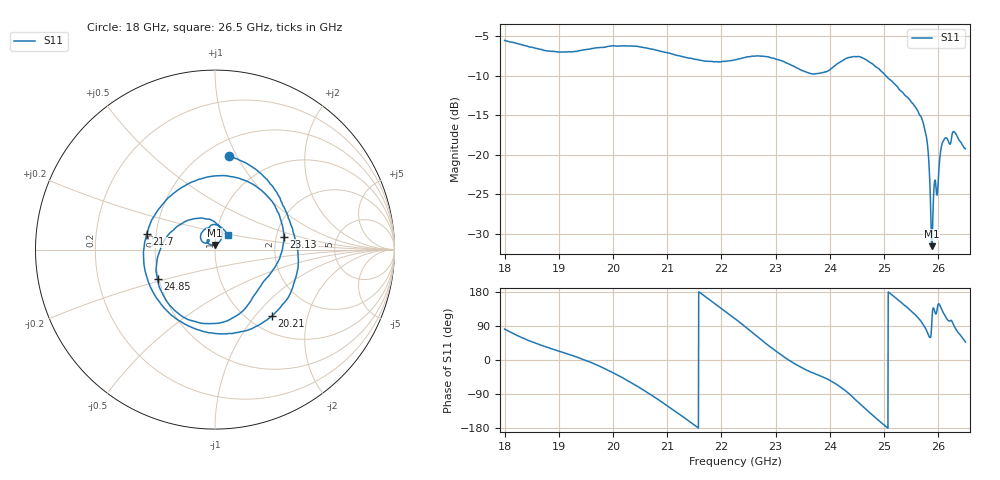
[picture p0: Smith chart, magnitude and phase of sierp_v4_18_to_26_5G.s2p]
!Keysight Technologies,N5222B,MY60213399,A.14.00.23
!Date: Tuesday, February 27, 2024 20:53:27
!Correction: S11(C  1-Port  )
!S21(Off)
!S12(Off)
!S22(Off)
!S2P File: Measurement: :
# Hz S  dB  R 50
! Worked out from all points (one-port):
!   1601 points, 18 GHz to 26.5 GHz, reference 50 ohm
!   lowest |S11| = -31.6 dB at 25.88 GHz (marker M1), VSWR 1.05, Z = 49.8 + j2.63 ohm
!   |S11| at or under -10 dB: 25.03 GHz to end of sweep
!   S11 on the Smith chart (normalised r, x): 18 GHz: 0.64, +0.93; 20.21 GHz: 1.26, -1.22; 21.7 GHz: 0.44, +0.09; 23.13 GHz: 2.20, +0.38; 24.85 GHz: 0.49, -0.18; 26.5 GHz: 1.14, +0.19
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1.8e10  -5.57 81.5  -200.00 45.0  -200.00 45.0  -200.00 45.0
1.854188e10  -6.50 46.0  -200.00 45.0  -200.00 45.0  -200.00 45.0
1.941844e10  -6.81 2.9  -200.00 45.0  -200.00 45.0  -200.00 45.0
2.021e10  -6.25 -49.6  -200.00 45.0  -200.00 45.0  -200.00 45.0
2.083688e10  -6.86 -104.8  -200.00 45.0  -200.00 45.0  -200.00 45.0
2.129375e10  -7.62 -150.1  -200.00 45.0  -200.00 45.0  -200.00 45.0
2.170281e10  -8.16 167.2  -200.00 45.0  -200.00 45.0  -200.00 45.0
2.225e10  -8.01 109.0  -200.00 45.0  -200.00 45.0  -200.00 45.0
2.264312e10  -7.53 63.8  -200.00 45.0  -200.00 45.0  -200.00 45.0
2.312656e10  -8.18 10.7  -200.00 45.0  -200.00 45.0  -200.00 45.0
2.366844e10  -9.78 -32.9  -200.00 45.0  -200.00 45.0  -200.00 45.0
2.410938e10  -8.66 -62.9  -200.00 45.0  -200.00 45.0  -200.00 45.0
2.439625e10  -7.66 -94.4  -200.00 45.0  -200.00 45.0  -200.00 45.0
2.484781e10  -8.91 -153.1  -200.00 45.0  -200.00 45.0  -200.00 45.0
2.508688e10  -10.40 178.4  -200.00 45.0  -200.00 45.0  -200.00 45.0
2.54375e10  -12.80 137.6  -200.00 45.0  -200.00 45.0  -200.00 45.0
2.571375e10  -15.80 94.8  -200.00 45.0  -200.00 45.0  -200.00 45.0
2.579344e10  -18.36 74.9  -200.00 45.0  -200.00 45.0  -200.00 45.0
2.587844e10  -31.56 92.1  -200.00 45.0  -200.00 45.0  -200.00 45.0
2.610156e10  -18.16 122.6  -200.00 45.0  -200.00 45.0  -200.00 45.0
2.629812e10  -17.16 87.7  -200.00 45.0  -200.00 45.0  -200.00 45.0
2.65e10  -19.26 47.7  -200.00 45.0  -200.00 45.0  -200.00 45.0
